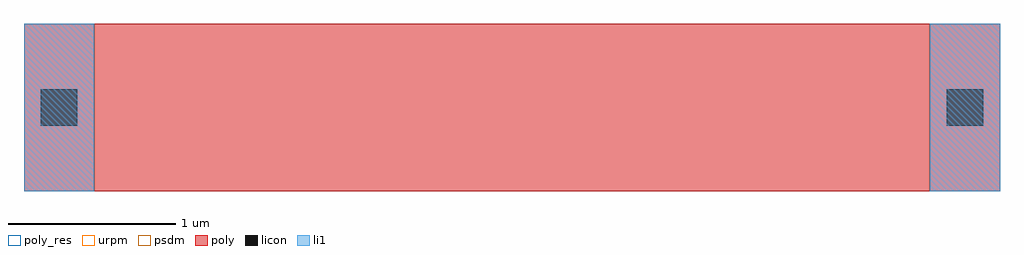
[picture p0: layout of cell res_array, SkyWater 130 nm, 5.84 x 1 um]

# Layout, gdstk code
import gdstk
lib = gdstk.Library(unit=1e-6, precision=1e-09)
def R(c, l, rs):  # rectangles x0, y0, x1, y1
    for r in rs: c.add(gdstk.rectangle(r[:2], r[2:], *l))
poly_res = (66, 13)
poly = (66, 20)
licon = (66, 44)
li1 = (67, 20)
urpm = (79, 20)
psdm = (94, 20)

res_array = lib.new_cell('res_array')
R(res_array, poly_res, [(0.42,0,5.42,1)])
R(res_array, poly, [(0,0,5.84,1)])
R(res_array, licon, [(0.1,0.39,0.32,0.61), (5.52,0.39,5.74,0.61)])
R(res_array, li1, [(0,0,0.42,1), (5.42,0,5.84,1)])
R(res_array, urpm, [(0.42,0,5.42,1)])
R(res_array, psdm, [(0.42,0,5.42,1)])

lib.write_gds('res_array.gds')
